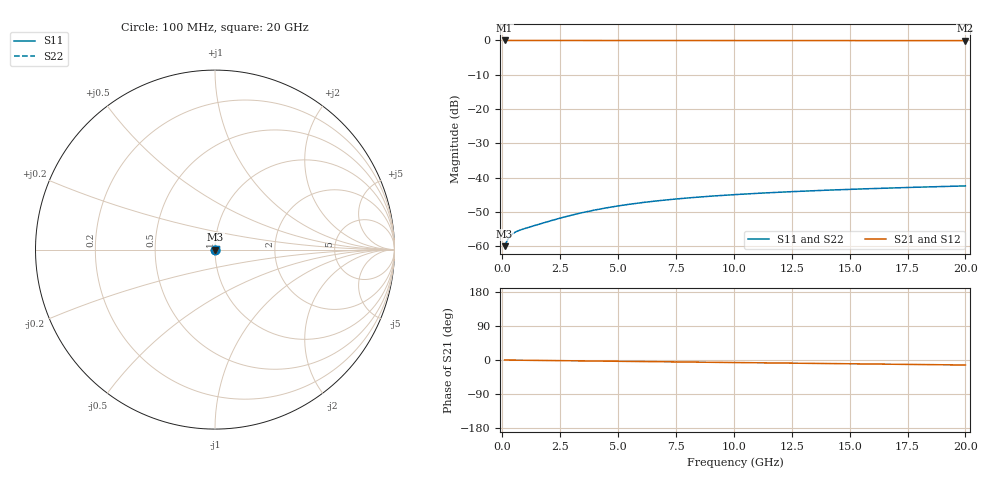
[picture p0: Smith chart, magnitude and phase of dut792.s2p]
! Touchstone file exported from HFSS 2026.1.0
!  File:  C:/ffzhzh/LocalFiles/Ansys_Project_Files/temp_train_BSMRDL_792_1783169563_55132.aedt
!  Generated:  08:53:57 PM Jul  4, 2026
!  Design:  BSMRDL
!  Project:  temp_train_BSMRDL_792_1783169563_55132
! Variables:
!  h_bsmrdl = 3.96um
!  h_ox = 20um
!  h_rdl = 5um
!  h_sub = 80um
!  h_tmrdl = 5um
!  h_tsv = 80um
!  h_via = 3um
!  l_bsmrdl = 223.08um
!  l_sub = 623.08um
!  l_tmrdl = 200um
!  m_sub = 200um
!  pitch = 33.06um
!  r_tsv = 6um
!  s_tmrdl = 10um
!  w_bsmrdl = 28.3um
!  w_sub = 500um
!  w_tmrdl = 12um
!  x_tsv_center1 = 206um
!  x_tsv_center2 = 457.38um
!  x_tsv_center3 = 669.38um
!  x_tsv_center4 = 920.76um
!  x_tsv_center5 = 1132.76um
!  x_tsv_center6 = 1384.14um
# GHz S MA R 50.000000
! Terminal data exported
! Port[1] = BSM_RDL1_1_T1
! Port[2] = BSM_RDL1_1_T2
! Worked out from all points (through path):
!   200 points, 100 MHz to 20 GHz, reference 50 ohm
!   highest |S21| = -0.01 dB at 100 MHz (marker M1); lowest = -0.1 dB at 20 GHz (marker M2)
!   group delay of S21, straight-line fit = 1.83 ps
!   lowest |S11| = -59.9 dB at 100 MHz (marker M3), VSWR 1.00, Z = 50.1 + j0.0269 ohm
!   |S11| at or under -10 dB: start of sweep to end of sweep
!   |S22| runs from -59.9 to -42.4 dB; largest |S21 - S12| = 7.3e-15
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0.1  0.001007 15.5  0.999 -0.1  0.999 -0.1  0.001007 15.5
! Gamma 0 0 0 0
! Port Impedance 50 0 50 0
0.2  0.001199 22.0  0.9989 -0.2  0.9989 -0.2  0.001199 22.0
0.3  0.001364 23.7  0.9988 -0.2  0.9988 -0.2  0.001364 23.7
0.4  0.001484 24.0  0.9986 -0.3  0.9986 -0.3  0.001484 24.0
0.5  0.00157 24.2  0.9986 -0.4  0.9986 -0.4  0.001571 24.2
0.6  0.001637 24.5  0.9985 -0.4  0.9985 -0.4  0.001638 24.5
0.7  0.001693 25.0  0.9985 -0.5  0.9985 -0.5  0.001693 25.0
1.1  0.001878 28.1  0.9984 -0.8  0.9984 -0.8  0.001878 28.1
2.2  0.002418 36.0  0.9981 -1.5  0.9981 -1.5  0.002419 36.0
2.9  0.002798 38.3  0.9979 -2.0  0.9979 -2.0  0.002798 38.3
3.5  0.003124 39.2  0.9977 -2.4  0.9977 -2.4  0.003124 39.1
4.2  0.003491 39.2  0.9974 -2.9  0.9974 -2.9  0.003491 39.2
5  0.003883 38.4  0.9971 -3.4  0.9971 -3.4  0.003883 38.4
5.9  0.004285 37.1  0.9968 -4.0  0.9968 -4.0  0.004286 37.1
6.8  0.004646 35.5  0.9964 -4.6  0.9964 -4.6  0.004647 35.5
7.5  0.004901 34.2  0.9962 -5.1  0.9962 -5.1  0.004903 34.2
8.3  0.005169 32.7  0.9959 -5.6  0.9959 -5.6  0.005171 32.7
10.1  0.005693 29.4  0.9954 -6.8  0.9954 -6.8  0.005696 29.3
11.6  0.006066 26.7  0.995 -7.8  0.995 -7.8  0.006071 26.7
13.4  0.00646 23.7  0.9945 -8.9  0.9945 -8.9  0.006466 23.7
16.7  0.007075 18.7  0.9938 -11.1  0.9938 -11.1  0.007085 18.6
20  0.007602 13.9  0.9932 -13.2  0.9932 -13.2  0.007617 13.9
